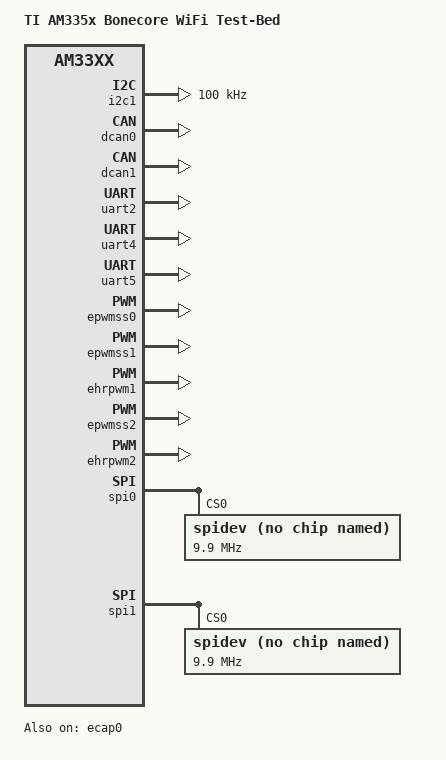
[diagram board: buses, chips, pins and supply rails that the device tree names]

/*
 * Copyright (C) Subinitial LLC
 *
 * This program is free software; you can redistribute it and/or modify
 * it under the terms of the GNU General Public License version 2 as
 * published by the Free Software Foundation.
 */
/dts-v1/;

#include "am33xx.dtsi"
#include "am335x-bone-common.dtsi"
#include "am335x-bonegreen-common.dtsi"
// #include "am335x-pruss-rproc.dtsi"
/* #include "am335x-bone-jtag.dtsi" */

#include "am335x-bonecore-common.dtsi"


&am33xx_pinmux {
  i2c1_pins: pinmux_i2c1_pins {
    pinctrl-single,pins = <
      BONE_P9_17 (PIN_INPUT_PULLUP | MUX_MODE2)
      BONE_P9_18 (PIN_INPUT_PULLUP | MUX_MODE2)
    >;
  };

  bb_uart2_pins: pinmux_bb_uart2_pins {
    pinctrl-single,pins = <
      BONE_P9_21 (PIN_OUTPUT | MUX_MODE1)
      BONE_P9_22 (PIN_INPUT_PULLUP | MUX_MODE1)
    >;
  };

  bb_uart4_pins: pinmux_bb_uart4_pins {
    pinctrl-single,pins = <
      BONE_P9_11 (PIN_INPUT_PULLUP | MUX_MODE6)
      BONE_P9_13 (PIN_OUTPUT | MUX_MODE6)
    >;
  };

  bb_uart5_pins: pinmux_bb_uart5_pins {
    pinctrl-single,pins = <
      BONE_P8_37 (PIN_OUTPUT | MUX_MODE4)	// uart5_txd
      BONE_P8_38 (PIN_INPUT_PULLUP | MUX_MODE4)	// uart5_rxd
    >;
  };

  bb_can1_pins: pinmux_bb_can1_pins {
    pinctrl-single,pins = <
      BONE_P9_24 (PIN_INPUT_PULLUP  | MUX_MODE2)  // dcan1_rx
      BONE_P9_26 (PIN_OUTPUT_PULLDOWN  | MUX_MODE2)  // dcan1_tx
    >;
  };


  bb_pwm1_pins: pinmux_bb_pwm1_pins {
    pinctrl-single,pins = <
      BONE_P9_14 (PIN_OUTPUT | MUX_MODE6)	/* ehrpwm1A  */
      /* BONE_P9_16 (PIN_OUTPUT | MUX_MODE6)	/* ehrpwm1B */
    >;
  };

  bb_pwm2_pins: pinmux_bb_pwm2_pins {
    pinctrl-single,pins = <
      BONE_P8_13 (PIN_OUTPUT | MUX_MODE4)	/* ehrpwm2B */
      /* BONE_P8_19 (PIN_OUTPUT | MUX_MODE4)	/* ehrpwm2A */
    >;
  };

  bb_ecap0_pins: pinmux_bb_ecap0_pins {
    pinctrl-single,pins = <
      BONE_P9_42A (PIN_INPUT_PULLDOWN | MUX_MODE0)	/* eCAP0/PWM */
      BONE_P9_42B (PIN_INPUT | MUX_MODE7)	/* spare-tied */
    >;
  };

    
  bb_spi0_pins: pinmux_bb_spi0_pins {
    pinctrl-single,pins = <
      BONE_P9_17 (PIN_OUTPUT_PULLUP | MUX_MODE0)  // spi0_cs0
      BONE_P9_21 (PIN_INPUT_PULLUP  | MUX_MODE0)  // spi0_d0 MISO
      BONE_P9_18 (PIN_OUTPUT_PULLDOWN  | MUX_MODE0)  // spi0_d1 MOSI
      BONE_P9_22 (PIN_INPUT_PULLUP  | MUX_MODE0)  // spi0_sclk
    >;
  };

    
  bb_spi1_pins: pinmux_bb_spi1_pins {
    pinctrl-single,pins = <
      BONE_P9_28 (PIN_OUTPUT_PULLUP | MUX_MODE3)  // spi1_cs0
      BONE_P9_29 (PIN_INPUT_PULLUP  | MUX_MODE3)  // spi1_d0 MISO
      BONE_P9_30 (PIN_OUTPUT_PULLDOWN  | MUX_MODE3)  // spi1_d1 MOSI
      BONE_P9_31 (PIN_INPUT_PULLUP  | MUX_MODE3)  // spi1_sclk
    >;
  };

  bb_gpio_pins: pinmux_bb_gpio_pins {
    pinctrl-single,pins = <
      BONE_P8_26 (PIN_INPUT_PULLUP | MUX_MODE7)  /* network reset */ 
      BONE_P8_31 (PIN_OUTPUT_PULLUP | MUX_MODE7)	 /* nEXT Power Enable GPIO */ 
      BONE_P8_32 (PIN_OUTPUT_PULLDOWN | MUX_MODE7)  /* core_capprechargeA */ 

      BONE_P9_12 (PIN_OUTPUT_PULLUP | MUX_MODE7)  /* core_phyresetcmd */
      BONE_P9_15 (PIN_OUTPUT_PULLUP | MUX_MODE7)  /* i2c2_en */ 

      BONE_P8_07 (PIN_INPUT | MUX_MODE7)
      BONE_P8_08 (PIN_INPUT | MUX_MODE7)
      BONE_P8_09 (PIN_INPUT | MUX_MODE7)
      BONE_P8_10 (PIN_INPUT | MUX_MODE7)
      BONE_P8_11 (PIN_INPUT | MUX_MODE7)
      BONE_P8_12 (PIN_INPUT | MUX_MODE7)
      
      BONE_P8_14 (PIN_OUTPUT | MUX_MODE7)
      BONE_P8_15 (PIN_INPUT | MUX_MODE7)
      BONE_P8_16 (PIN_INPUT | MUX_MODE7)
      BONE_P8_17 (PIN_OUTPUT | MUX_MODE7)
      BONE_P8_18 (PIN_OUTPUT | MUX_MODE7)
      BONE_P8_19 (PIN_INPUT | MUX_MODE7)

      BONE_P8_27 (PIN_INPUT | MUX_MODE7)
      BONE_P8_28 (PIN_INPUT | MUX_MODE7)
      BONE_P8_29 (PIN_INPUT | MUX_MODE7)
      BONE_P8_30 (PIN_INPUT | MUX_MODE7)
      
      BONE_P8_33 (PIN_OUTPUT | MUX_MODE7)
      BONE_P8_34 (PIN_INPUT | MUX_MODE7)
      BONE_P8_35 (PIN_OUTPUT | MUX_MODE7)
      BONE_P8_36 (PIN_INPUT | MUX_MODE7)

      BONE_P8_39 (PIN_INPUT | MUX_MODE7)
      BONE_P8_40 (PIN_INPUT | MUX_MODE7)
      BONE_P8_41 (PIN_OUTPUT | MUX_MODE7)
      BONE_P8_42 (PIN_OUTPUT | MUX_MODE7)
      BONE_P8_43 (PIN_OUTPUT | MUX_MODE7)
      BONE_P8_44 (PIN_OUTPUT | MUX_MODE7)
      BONE_P8_45 (PIN_OUTPUT | MUX_MODE7)
      BONE_P8_46 (PIN_OUTPUT | MUX_MODE7)
      
      BONE_P9_16 (PIN_INPUT | MUX_MODE7)
      BONE_P9_23 (PIN_INPUT | MUX_MODE7)
      BONE_P9_25 (PIN_INPUT | MUX_MODE7)
      BONE_P9_27 (PIN_INPUT | MUX_MODE7)
      BONE_P9_41A (PIN_INPUT | MUX_MODE7)
      BONE_P9_41B (PIN_INPUT | MUX_MODE7)
    >;
  };
};

&capeuniversal {
  pinctrl-0 = <&bb_gpio_pins>;

  P8_7  { gpio = <&gpio2  2 0>; input; dir-changeable; };
  P8_8  { gpio = <&gpio2  3 0>; input; dir-changeable; };
  P8_9  { gpio = <&gpio2  5 0>; input; dir-changeable; };
  P8_10 { gpio = <&gpio2  4 0>; input; dir-changeable; };
  // P8_11 { gpio = <&gpio1 13 0>; input; dir-changeable; };
  P8_12 { gpio = <&gpio1 12 0>; input; dir-changeable; };
  P8_13 { gpio = <&gpio0 23 0>; output; init-low; dir-changeable; };

  // P8_14 { gpio = <&gpio0 26 0>; output; init-high; dir-changeable; };
  // P8_15 { gpio = <&gpio1 15 0>; input; dir-changeable; };
  P8_16 { gpio = <&gpio1 14 0>; input; dir-changeable; };
  P8_17 { gpio = <&gpio0 27 0>; output; init-low; dir-changeable; };
  P8_18 { gpio = <&gpio2 1  0>; output; init-low; dir-changeable; };
  P8_19 { gpio = <&gpio0 22 0>; input; dir-changeable; };

  P8_27 { gpio = <&gpio2 22 0>; input; dir-changeable; };
  P8_28 { gpio = <&gpio2 24 0>; input; dir-changeable; };
  P8_29 { gpio = <&gpio2 23 0>; input; dir-changeable; };
  P8_30 { gpio = <&gpio2 25 0>; input; dir-changeable; };

  P8_33 { gpio = <&gpio0 9  0>; output; init-low; dir-changeable; };
  P8_34 { gpio = <&gpio2 17 0>; input; dir-changeable; };
  P8_35 { gpio = <&gpio0 8  0>; output; init-low; dir-changeable; };
  P8_36 { gpio = <&gpio2 16 0>; input; dir-changeable; };

  P8_39 { gpio = <&gpio2 12 0>; input; dir-changeable; };
  P8_40 { gpio = <&gpio2 13 0>; input; dir-changeable; };
  P8_41 { gpio = <&gpio2 10 0>; output; init-low; dir-changeable; };
  P8_42 { gpio = <&gpio2 11 0>; output; init-low; dir-changeable; };
  P8_43 { gpio = <&gpio2  8 0>; output; init-low; dir-changeable; };
  P8_44 { gpio = <&gpio2  9 0>; output; init-high; dir-changeable; };
  P8_45 { gpio = <&gpio2  6 0>; output; init-low; dir-changeable; };
  P8_46 { gpio = <&gpio2  7 0>; output; init-low; dir-changeable; };

  P9_14 { gpio = <&gpio1 18 0>; output; init-low; dir-changeable; };

  P9_16 { gpio = <&gpio1 19 0>; input; dir-changeable; };

  P9_23 { gpio = <&gpio1 17 0>; input; dir-changeable; };

  P9_25 { gpio = <&gpio3 21 0>; input; dir-changeable; };
  
  P9_27 { gpio = <&gpio3 19 0>; input; dir-changeable; };
  
  // P9_41A { gpio = <&gpio0 20 0>; input; dir-changeable; };

};

&i2c1 {
	status = "okay";
	pinctrl-names = "default";
	pinctrl-0 = <&i2c1_pins>;
	clock-frequency = <100000>;
};

&dcan0 {
  status = "okay";
  pinctrl-names = "default";
	// pinctrl-0 = <&bb_can0_pins>;
};


&dcan1 {
  status = "okay";
  pinctrl-names = "default";
	pinctrl-0 = <&bb_can1_pins>;
};

&uart0 {
  // linux,rs485-enabled-at-boot-time;
  rs485-rts-active-high;
  rs485-rts-delay = <0 0>; // <before after>, range: 0-100 (in milliseconds)
  rts-gpio = <&gpio1 13 0>;  // <pin flags>
};

&uart2 {
  status = "okay";
  pinctrl-names = "default";
  pinctrl-0 = <&bb_uart2_pins>;

  // linux,rs485-enabled-at-boot-time;
  rs485-rts-active-high;
  rs485-rts-delay = <0 0>; // <before after>, range: 0-100 (in milliseconds)
  rts-gpio = <&gpio2 23 0>;  // <pin flags>
};

&uart4 {
  status = "okay";
  pinctrl-names = "default";
  pinctrl-0 = <&bb_uart4_pins>;

  // linux,rs485-enabled-at-boot-time;
  rs485-rts-active-high;
  rs485-rts-delay = <0 0>; // <before after>, range: 0-100 (in milliseconds)
  rts-gpio = <&gpio0 20 0>;  // <pin flags>
};

&uart5 {
  status = "okay";
  pinctrl-names = "default";
  pinctrl-0 = <&bb_uart5_pins>;

  // linux,rs485-enabled-at-boot-time;
  rs485-rts-active-high;
  rs485-rts-delay = <0 0>; // <before after>, range: 0-100 (in milliseconds)
  rts-gpio = <&gpio2 25 0>;  // <pin flags>
};

&epwmss0 { 
  status = "okay";
};

&ecap0 {
  status = "okay";
  pinctrl-names = "default";
  pinctrl-0 = <&bb_ecap0_pins>;
};

&epwmss1 {
  status = "okay";
};

&ehrpwm1 {
  status = "okay";
  pinctrl-names = "default";
  pinctrl-0 = <&bb_pwm1_pins>;
};

&epwmss2 {
  status = "okay";
};

&ehrpwm2 {
  status = "okay";
  pinctrl-names = "default";
  pinctrl-0 = <&bb_pwm2_pins>;
};

&spi0 {
  status = "okay";
  pinctrl-names = "default";
  // pinctrl-0 = <&bb_spi0_pins>;

  spidev@0 {
    compatible = "linux,spidev";
    spi-max-frequency = <9900000>;
    reg = <0>;
    // spi-cpha;
  };
};

&spi1 {
  status = "okay";
  pinctrl-names = "default";
  pinctrl-0 = <&bb_spi1_pins>;

  spidev@0 {
    compatible = "linux,spidev";
    spi-max-frequency = <9900000>;
    reg = <0>;
  };
};

/ {
	model = "TI AM335x Bonecore WiFi Test-Bed";
	compatible = "ti,am335x-bone-green", "ti,am335x-bone-black", "ti,am335x-bone", "ti,am33xx";
};
